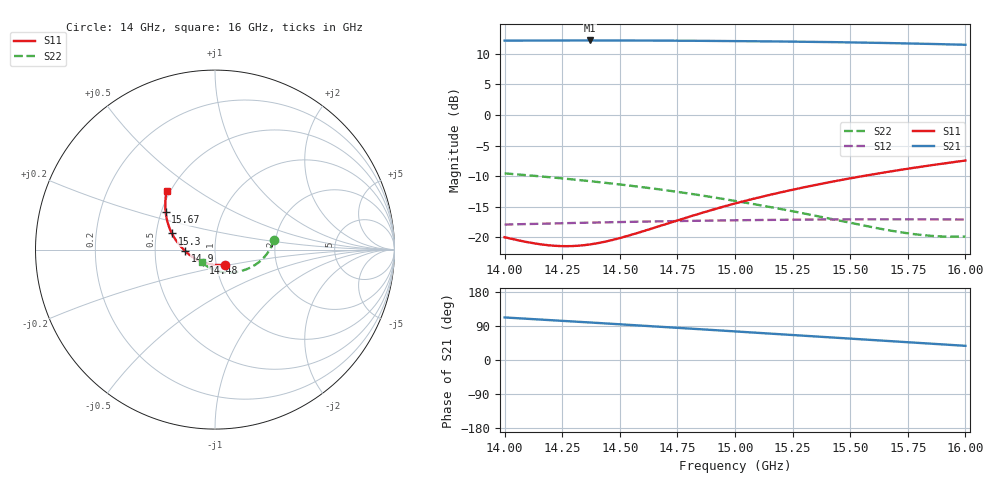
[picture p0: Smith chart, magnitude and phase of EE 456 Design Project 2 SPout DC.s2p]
! Created Fri Mar 21 12:16:34 2025
# hz S ma R 50
! 2 Port Network Data from SP1.SP block
! freq  magS11  angS11  magS21  angS21  magS12  angS12  magS22  angS22
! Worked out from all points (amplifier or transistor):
!   401 points, 14 GHz to 16 GHz, reference 50 ohm
!   highest |S21| = 12.2 dB at 14.37 GHz (marker M1)
!   |S21| within 3 dB of that: start of sweep to end of sweep
!   unconditionally stable (mu >= 1): start of sweep to end of sweep
!   at 14.33 GHz: K = 1.10, MAG = 13.0 dB, |S12| = -17.6 dB
!   at 15 GHz: K = 1.08, MAG = 12.9 dB, |S12| = -17.2 dB
!   at 16 GHz: K = 1.04, MAG = 13.0 dB, |S12| = -17.1 dB
!   lowest NFmin = 0.40 dB at 14 GHz
!   S11 on the Smith chart (normalised r, x): 14 GHz: 1.10, -0.19; 14.48 GHz: 0.87, -0.13; 14.9 GHz: 0.71, -0.01; 15.3 GHz: 0.60, +0.12; 15.67 GHz: 0.53, +0.25; 16 GHz: 0.48, +0.38
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1.4e10  0.1003 -56.2  4.043 112.3  0.1273 111.7  0.3333 9.1
1.405e10  0.09548 -62.6  4.046 110.5  0.1279 110.3  0.3276 7.2
1.419e10  0.08628 -83.8  4.053 105.5  0.1298 106.3  0.3108 1.8
1.4265e10  0.08479 -96.6  4.055 102.8  0.1307 104.2  0.3015 -1.1
1.4335e10  0.086 -108.8  4.056 100.3  0.1316 102.1  0.2925 -4.0
1.437e10  0.08758 -114.8  4.056 99.0  0.132 101.1  0.288 -5.4
1.448e10  0.09649 -132.4  4.055 95.0  0.1333 97.9  0.2734 -10.0
1.4575e10  0.1084 -145.6  4.051 91.5  0.1343 95.1  0.2603 -14.1
1.467e10  0.1233 -156.7  4.045 87.9  0.1353 92.2  0.247 -18.4
1.4785e10  0.1443 -168.1  4.035 83.6  0.1363 88.8  0.2304 -23.9
1.49e10  0.1676 -177.6  4.022 79.3  0.1372 85.2  0.2134 -29.6
1.5e10  0.1893 175.2  4.006 75.5  0.138 82.2  0.1984 -35.0
1.515e10  0.2223 167.0  3.986 69.9  0.139 77.5  0.1774 -44.4
1.53e10  0.2565 159.5  3.959 64.2  0.1398 72.8  0.1568 -55.1
1.5335e10  0.2647 157.8  3.951 62.9  0.1399 71.7  0.1521 -57.8
1.5415e10  0.2834 154.1  3.933 59.9  0.1402 69.2  0.1418 -64.5
1.55e10  0.3036 150.3  3.912 56.6  0.1404 66.5  0.1315 -72.4
1.567e10  0.3444 142.9  3.862 50.1  0.1406 61.1  0.1141 -90.7
1.576e10  0.3662 139.1  3.832 46.6  0.1406 58.2  0.1074 -101.9
1.5845e10  0.3867 135.6  3.801 43.4  0.1404 55.5  0.1032 -113.5
1.5935e10  0.4084 132.0  3.766 39.9  0.1402 52.6  0.1013 -126.2
1.6e10  0.424 129.4  3.739 37.4  0.14 50.5  0.1018 -135.6
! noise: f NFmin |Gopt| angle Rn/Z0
1.4e+10  0.4  0.3403  -36.47  0.2387
1.422e+10  0.4099  0.3198  -32.53  0.2418
1.444e+10  0.4198  0.2975  -28.96  0.2412
1.466e+10  0.4299  0.2729  -25.88  0.2366
1.488e+10  0.4398  0.2473  -23.68  0.2286
1.511e+10  0.45  0.2203  -22.7  0.2173
1.533e+10  0.4598  0.1942  -23.6  0.2044
1.556e+10  0.47  0.1699  -27.33  0.1901
1.578e+10  0.4799  0.1521  -34.58  0.1763
1.6e+10  0.49  0.1447  -45.45  0.1633
